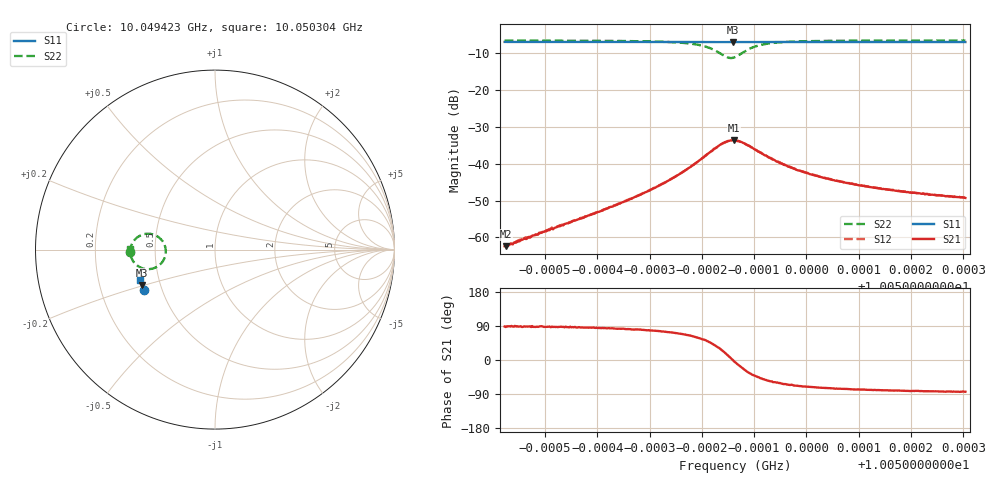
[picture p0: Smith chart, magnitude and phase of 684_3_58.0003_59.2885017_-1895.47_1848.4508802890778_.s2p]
#  HZ  S  RI  R  50.00
! Rohde & Schwarz Vector Network Analyzer
! Rohde-Schwarz,ZNB20-2Port,1311601062101988,3.16
! Created: UTC 3/21/2024, 1:21:00 AM
! freq[Hz]  re:S11  im:S11  re:S21  im:S21  re:S12  im:S12  re:S22  im:S22
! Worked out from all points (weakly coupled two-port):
!   401 points, 10.049423 GHz to 10.050304 GHz, reference 50 ohm
!   highest |S21| = -33.55 dB at 10.049861 GHz (marker M1); lowest = -62.4 dB at 10.049425 GHz (marker M2)
!   lowest |S11| = -6.9 dB at 10.049859 GHz (marker M3), VSWR 2.64, Z = 19.8 - j9.76 ohm
!   |S11| at or under -10 dB: nowhere
!   |S22| runs from -11.2 to -6.5 dB; largest |S21 - S12| = 0.0016
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1.00494226e10  -0.3956 -0.2231  2.15e-05 0.000762  -4.46e-05 0.000763  -0.474 -0.0145
1.00494248e10  -0.3956 -0.2229  3.94e-05 0.000761  -2.4e-05 0.000775  -0.4738 -0.0141
1.00495702e10  -0.4001 -0.2142  0.000141 0.00181  -4.45e-06 0.00185  -0.4713 0.00541
1.00496562e10  -0.4026 -0.2088  0.000479 0.00313  0.000271 0.00321  -0.4661 0.0232
1.00497179e10  -0.4043 -0.2051  0.00122 0.00492  0.000931 0.00501  -0.4561 0.0433
1.00497465e10  -0.405 -0.2032  0.00203 0.00621  0.00173 0.00634  -0.446 0.0565
1.00497818e10  -0.4058 -0.2007  0.00432 0.00848  0.00385 0.00867  -0.4203 0.0763
1.00498016e10  -0.4063 -0.1993  0.0071 0.00982  0.00643 0.0102  -0.3928 0.0866
1.00498192e10  -0.4061 -0.1982  0.0109 0.0103  0.0104 0.0109  -0.3541 0.0867
1.00498412e10  -0.406 -0.197  0.0179 0.00738  0.0172 0.00829  -0.2939 0.049
1.00498501e10  -0.4059 -0.1968  0.0201 0.00413  0.0196 0.00542  -0.2776 0.0163
1.00498589e10  -0.4058 -0.1967  0.021 0.000211  0.0207 0.00134  -0.2748 -0.0218
1.00498611e10  -0.406 -0.1967  0.021 -0.00105  0.0209 0.000499  -0.2764 -0.0313
1.00498633e10  -0.4061 -0.1967  0.0207 -0.00206  0.0206 -0.000468  -0.279 -0.0409
1.00498853e10  -0.407 -0.1961  0.0159 -0.00902  0.0165 -0.00792  -0.3341 -0.1011
1.00499007e10  -0.4077 -0.1956  0.0118 -0.0105  0.0125 -0.00977  -0.3754 -0.1092
1.00499162e10  -0.4086 -0.1947  0.00875 -0.0105  0.00944 -0.0099  -0.4052 -0.1038
1.00499646e10  -0.4106 -0.1916  0.00384 -0.00832  0.00453 -0.00812  -0.4491 -0.0738
1.00500109e10  -0.4119 -0.1887  0.00226 -0.00676  0.0027 -0.00666  -0.4629 -0.0528
1.00500748e10  -0.4136 -0.1848  0.00132 -0.00538  0.00162 -0.00534  -0.4702 -0.0338
1.00501585e10  -0.4157 -0.1794  0.000745 -0.0044  0.000995 -0.00434  -0.4736 -0.0175
1.00503039e10  -0.4193 -0.1707  0.000372 -0.00342  0.000546 -0.00344  -0.4753 0.00147
